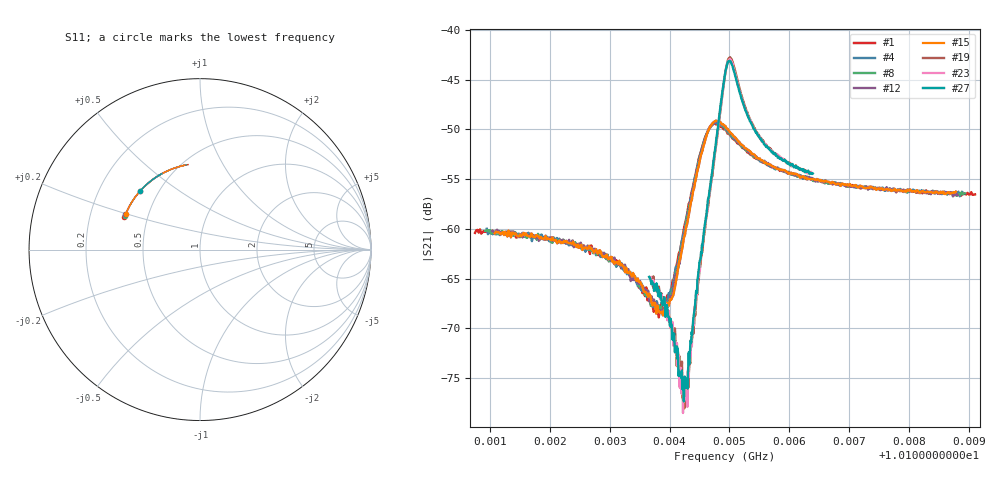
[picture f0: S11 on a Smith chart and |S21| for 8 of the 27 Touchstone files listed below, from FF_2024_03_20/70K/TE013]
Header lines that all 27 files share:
#  HZ  S  RI  R  50.00
! Rohde & Schwarz Vector Network Analyzer
! Rohde-Schwarz,ZNB20-2Port,1311601062101988,3.16
! freq[Hz]  re:S11  im:S11  re:S21  im:S21  re:S12  im:S12  re:S22  im:S22
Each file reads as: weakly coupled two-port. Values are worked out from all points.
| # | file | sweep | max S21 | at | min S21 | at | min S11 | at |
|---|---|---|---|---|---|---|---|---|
| 1 | 40_3_68.5_70.0406494_56160.715_111.59099650382996_.s2p | 10.10075 GHz to 10.1091 GHz | -49.40 dB | 10.10476 GHz | -68.9 dB | 10.10382 GHz | -6.4 dB | 10.10075 GHz |
| 2 | 41_3_68.4997_70.0419464_55891.223_114.12671303749084_.s2p | 10.10091 GHz to 10.10893 GHz | -49.35 dB | 10.1048 GHz | -68.3 dB | 10.10384 GHz | -6.4 dB | 10.10091 GHz |
| 3 | 42_3_68.5003_70.0431442_55661.539_116.57501173019409_.s2p | 10.10092 GHz to 10.10892 GHz | -49.36 dB | 10.10478 GHz | -68.8 dB | 10.10386 GHz | -6.4 dB | 10.10092 GHz |
| 4 | 43_3_68.4999_70.0418396_55392.07_118.97481322288513_.s2p | 10.10095 GHz to 10.10889 GHz | -49.35 dB | 10.10476 GHz | -68.6 dB | 10.10388 GHz | -6.3 dB | 10.10097 GHz |
| 5 | 44_3_68.5_70.0440063_55162.09_121.3862898349762_.s2p | 10.10084 GHz to 10.10902 GHz | -49.33 dB | 10.10479 GHz | -68.8 dB | 10.10389 GHz | -6.4 dB | 10.10084 GHz |
| 6 | 45_3_68.4995_70.0430298_54911.832_123.85416626930237_.s2p | 10.10089 GHz to 10.10897 GHz | -49.26 dB | 10.10477 GHz | -68.9 dB | 10.10382 GHz | -6.4 dB | 10.10089 GHz |
| 7 | 46_3_68.5007_70.0402374_54682.43_126.26425909996033_.s2p | 10.10095 GHz to 10.1089 GHz | -49.29 dB | 10.10478 GHz | -68.6 dB | 10.10391 GHz | -6.3 dB | 10.10095 GHz |
| 8 | 47_3_68.5003_70.0434265_54433.031_128.71015667915344_.s2p | 10.10092 GHz to 10.10894 GHz | -49.25 dB | 10.10479 GHz | -68.7 dB | 10.10389 GHz | -6.3 dB | 10.10092 GHz |
| 9 | 48_3_68.4999_70.0423431_54172.883_131.09595441818237_.s2p | 10.10094 GHz to 10.10892 GHz | -49.23 dB | 10.10475 GHz | -68.7 dB | 10.10389 GHz | -6.3 dB | 10.10094 GHz |
| 10 | 49_3_68.4997_70.0467911_53953.117_133.5659408569336_.s2p | 10.10099 GHz to 10.10885 GHz | -49.23 dB | 10.10479 GHz | -69.0 dB | 10.1038 GHz | -6.3 dB | 10.10099 GHz |
| 11 | 50_3_68.4999_70.0444031_53713.406_135.97687888145447_.s2p | 10.101 GHz to 10.10886 GHz | -49.22 dB | 10.10477 GHz | -69.0 dB | 10.10385 GHz | -6.3 dB | 10.101 GHz |
| 12 | 51_3_68.4999_70.047226_53464.266_138.42388367652893_.s2p | 10.10104 GHz to 10.10881 GHz | -49.18 dB | 10.10481 GHz | -68.5 dB | 10.10388 GHz | -6.3 dB | 10.10106 GHz |
| 13 | 52_3_68.5006_70.0415878_53214.359_140.8613257408142_.s2p | 10.10108 GHz to 10.10877 GHz | -49.14 dB | 10.10479 GHz | -68.7 dB | 10.10394 GHz | -6.3 dB | 10.10112 GHz |
| 14 | 53_3_68.4999_70.0251236_11457.359_143.04063653945923_.s2p | 10.10375 GHz to 10.10632 GHz | -42.60 dB | 10.10501 GHz | -79.0 dB | 10.10427 GHz | -6.2 dB | 10.10376 GHz |
| 15 | 53_3_68.5005_70.0419159_52974.676_143.28645610809326_.s2p | 10.10108 GHz to 10.10878 GHz | -49.12 dB | 10.10478 GHz | -68.7 dB | 10.10389 GHz | -6.3 dB | 10.10108 GHz |
| 16 | 54_3_68.4997_70.0420151_52755.148_145.69977116584778_.s2p | 10.10106 GHz to 10.10882 GHz | -49.16 dB | 10.1048 GHz | -69.0 dB | 10.10389 GHz | -6.3 dB | 10.10106 GHz |
| 17 | 54_3_68.5003_70.0251236_11687.419_145.49134469032288_.s2p | 10.10373 GHz to 10.10634 GHz | -42.68 dB | 10.10501 GHz | -79.3 dB | 10.10427 GHz | -6.2 dB | 10.10373 GHz |
| 18 | 55_3_68.5001_70.0453796_52495.559_148.13678240776062_.s2p | 10.10105 GHz to 10.10882 GHz | -49.11 dB | 10.10478 GHz | -68.8 dB | 10.10386 GHz | -6.3 dB | 10.10107 GHz |
| 19 | 55_3_68.5002_70.0252304_11937.6_147.91285157203674_.s2p | 10.10372 GHz to 10.10634 GHz | -42.75 dB | 10.10501 GHz | -78.1 dB | 10.10425 GHz | -6.2 dB | 10.10374 GHz |
| 20 | 56_3_68.4997_70.0475464_52245.977_150.53348326683044_.s2p | 10.10105 GHz to 10.10883 GHz | -49.08 dB | 10.10478 GHz | -69.0 dB | 10.10387 GHz | -6.3 dB | 10.10105 GHz |
| 21 | 56_3_68.5003_70.0251236_12188.409_150.34157299995422_.s2p | 10.10371 GHz to 10.10635 GHz | -42.86 dB | 10.10501 GHz | -77.5 dB | 10.10425 GHz | -6.2 dB | 10.10372 GHz |
| 22 | 57_3_68.4998_70.0467911_52006.262_152.96571922302246_.s2p | 10.10114 GHz to 10.10873 GHz | -49.08 dB | 10.1048 GHz | -68.5 dB | 10.10389 GHz | -6.3 dB | 10.10116 GHz |
| 23 | 57_3_68.4999_70.0257721_12428.351_152.7309854030609_.s2p | 10.10369 GHz to 10.10637 GHz | -42.94 dB | 10.105 GHz | -78.5 dB | 10.10422 GHz | -6.2 dB | 10.1037 GHz |
| 24 | 58_3_68.4994_70.0454865_51766.582_155.3632755279541_.s2p | 10.10115 GHz to 10.10872 GHz | -49.01 dB | 10.10478 GHz | -68.7 dB | 10.10387 GHz | -6.3 dB | 10.10118 GHz |
| 25 | 58_3_68.5002_70.0279388_12668.51_155.16786742210388_.s2p | 10.10367 GHz to 10.10638 GHz | -43.01 dB | 10.10501 GHz | -77.5 dB | 10.10422 GHz | -6.2 dB | 10.10368 GHz |
| 26 | 59_3_68.5_70.0406113_51517.152_157.83205795288086_.s2p | 10.10119 GHz to 10.10866 GHz | -49.01 dB | 10.10482 GHz | -69.0 dB | 10.10392 GHz | -6.3 dB | 10.10119 GHz |
| 27 | 59_3_68.4997_70.0258789_12928.499_157.58048820495605_.s2p | 10.10366 GHz to 10.10639 GHz | -43.12 dB | 10.105 GHz | -77.4 dB | 10.10424 GHz | -6.2 dB | 10.10366 GHz |
